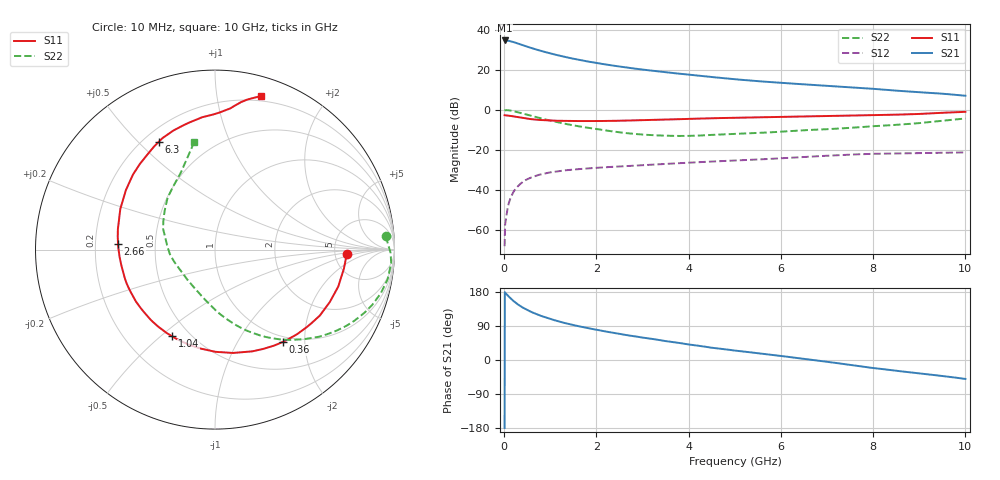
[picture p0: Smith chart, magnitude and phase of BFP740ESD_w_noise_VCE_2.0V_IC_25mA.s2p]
! Infineon Technologies  Discrete & RF Semiconductors
! BFP740ESD
! VCE =  2.0 V,  IC =  25 mA
! Common Emitter S-Parameters:  Jan 2016
# GHz  S  MA  R  50
!  f  S11  S21  S12  S22
! GHz  MAG  ANG  MAG  ANG  MAG  ANG  MAG  ANG
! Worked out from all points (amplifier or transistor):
!   233 points, 10 MHz to 10 GHz, reference 50 ohm
!   highest |S21| = 34.6 dB at 10 MHz (marker M1)
!   |S21| within 3 dB of that: start of sweep to 487 MHz
!   unconditionally stable (mu >= 1): start of sweep to 10.28 MHz; 4.275 GHz to 7.257 GHz
!   at 200 MHz: K = 0.16, MSG = 37.4 dB, |S12| = -41.0 dB
!   at 1.74 GHz: K = 0.64, MSG = 26.9 dB, |S12| = -29.3 dB
!   at 10 GHz: K = 0.74, MSG = 14.1 dB, |S12| = -21.2 dB
!   lowest NFmin = 0.88 dB at 450 MHz
!   S11 on the Smith chart (normalised r, x): 10 MHz: 6.48, -0.72; 360 MHz: 0.91, -1.58; 1.04 GHz: 0.40, -0.55; 2.66 GHz: 0.30, +0.03; 6.3 GHz: 0.26, +0.58; 10 GHz: 0.16, +1.33
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0.01  0.7355 -2.0  53.67 -179.4  0.0004 83.0  0.9545 4.4
0.02  0.7314 -3.6  53.12 177.6  0.0013 93.0  0.9785 -1.1
0.1  0.7169 -16.7  52.52 167.5  0.0047 81.4  0.9758 -9.8
0.15  0.7031 -24.6  50.99 161.4  0.0068 78.3  0.9551 -14.8
0.2  0.69 -32.2  49.15 156.0  0.0089 74.8  0.9293 -19.3
0.26  0.6685 -40.5  46.54 149.9  0.0111 70.7  0.8943 -24.1
0.36  0.6384 -53.6  42.61 141.7  0.0146 65.4  0.8345 -31.4
0.5  0.604 -69.8  37.57 131.9  0.0186 59.1  0.7554 -40.0
0.6  0.5845 -80.1  34.49 126.0  0.0209 55.2  0.7034 -45.2
0.7  0.5697 -89.6  31.83 121.0  0.023 52.0  0.657 -50.0
0.9  0.5489 -106.1  27.4 112.1  0.0263 46.7  0.5762 -58.5
1.04  0.5389 -116.2  24.88 106.9  0.0281 43.7  0.5275 -63.6
1.32  0.5297 -133.3  20.86 97.4  0.0311 39.3  0.4497 -72.8
1.68  0.5259 -150.3  17.16 87.5  0.0338 35.6  0.378 -82.7
2.2  0.5291 -169.5  13.53 75.2  0.0371 32.5  0.3068 -95.6
2.66  0.5413 176.5  11.33 65.7  0.0397 30.5  0.2624 -108.4
3.4  0.5683 158.9  8.928 52.0  0.0443 28.5  0.229 -129.9
5.1  0.637 130.2  5.666 23.6  0.0551 22.9  0.2547 -176.2
6.3  0.6776 117.5  4.475 6.1  0.0648 18.3  0.3001 161.3
6.8  0.6953 111.7  4.117 -1.6  0.0697 15.4  0.3216 153.7
8.4  0.7541 90.4  3.074 -26.9  0.0814 1.5  0.4158 125.0
10  0.8923 73.4  2.247 -50.0  0.0869 -10.4  0.6085 101.1
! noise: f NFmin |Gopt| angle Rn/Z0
0.45  0.88  0.07  -171  0.16
0.9  0.9  0.09  -160  0.09
1.9  0.94  0.12  -147  0.11
2.4  0.98  0.17  -133  0.12
5.5  1.13  0.34  -114  0.14
10  1.7  0.57  -84  0.59
